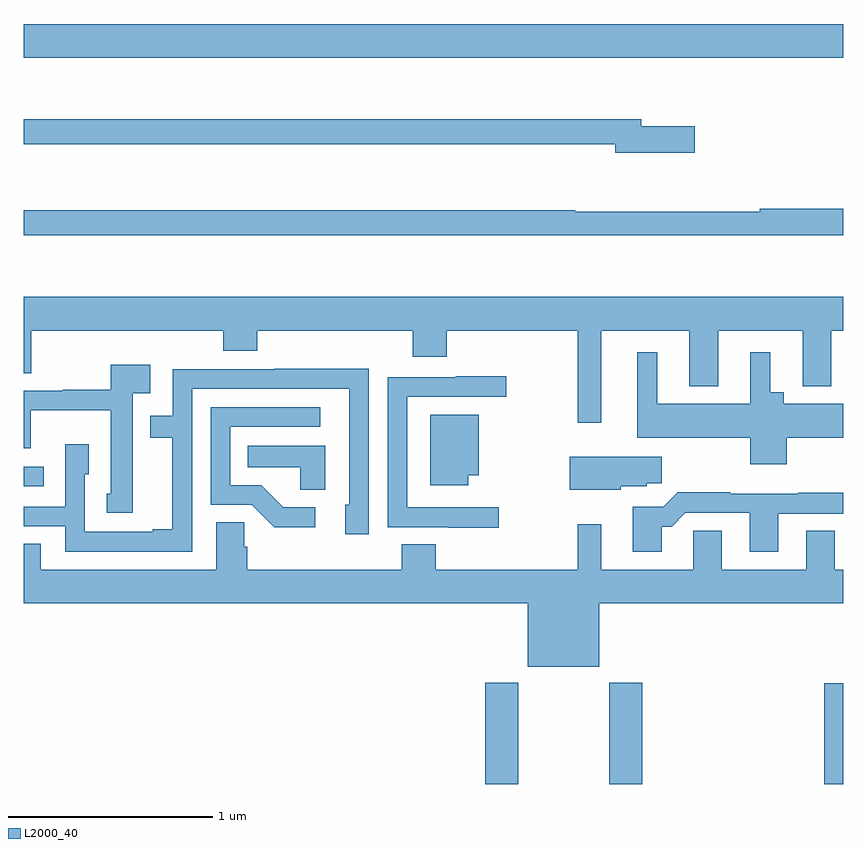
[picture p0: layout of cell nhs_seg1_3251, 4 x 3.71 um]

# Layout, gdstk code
import gdstk
lib = gdstk.Library(unit=1e-6, precision=1e-09)
def R(c, l, rs):  # rectangles x0, y0, x1, y1
    for r in rs: c.add(gdstk.rectangle(r[:2], r[2:], *l))
def P(c, l, *ps):  # polygons
    for p in ps: c.add(gdstk.Polygon(p, *l))
L2000_40 = (2000, 40)

nhs_seg1_3251 = lib.new_cell('nhs_seg1_3251')
R(nhs_seg1_3251, L2000_40, [(289.253,536.199,289.413,536.692), (289.858,536.199,290.018,536.692), (290.906,536.199,291,536.691), (287,537.651,287.098,537.747), (287,539.744,291,539.908)])
P(nhs_seg1_3251, L2000_40, [(290.275,539.409),(290.014,539.409),(290.014,539.443),(287,539.443),(287,539.322),(289.886,539.322),(289.886,539.279),(290.275,539.279)],
  [(291,539.006),(290.591,539.006),(290.591,538.991),(289.691,538.991),(289.691,538.999),(287,538.999),(287,538.878),(291,538.878)],
  [(289.819,538.412),(290.249,538.412),(290.249,538.139),(290.389,538.139),(290.389,538.412),(290.801,538.412),(290.801,538.139),(290.941,538.139),(290.941,538.412),(291,538.412),(291,538.576),(287,538.576),(287,538.204),(287.037,538.204),(287.037,538.412),(287.975,538.412),(287.975,538.313),(288.14,538.313),(288.14,538.412),(288.899,538.412),(288.899,538.284),(289.064,538.284),(289.064,538.412),(289.705,538.412),(289.705,537.963),(289.819,537.963)],
  [(290.723,537.89),(291,537.89),(291,538.054),(290.71,538.054),(290.71,538.111),(290.644,538.111),(290.644,538.306),(290.546,538.306),(290.546,538.054),(290.092,538.054),(290.092,538.306),(289.994,538.306),(289.994,537.89),(290.545,537.89),(290.545,537.759),(290.723,537.759)],
  [(287.533,538.01),(287.532,538.01),(287.532,538.106),(287.617,538.106),(287.617,538.246),(287.424,538.246),(287.424,538.124),(287.19,538.124),(287.19,538.119),(287,538.119),(287,537.837),(287.035,537.837),(287.035,538.022),(287.426,538.022),(287.426,537.615),(287.405,537.615),(287.405,537.522),(287.533,537.522)],
  [(287.823,538.128),(288.588,538.128),(288.588,537.561),(288.569,537.561),(288.569,537.417),(288.684,537.417),(288.684,538.226),(288.223,538.226),(288.223,538.224),(287.727,538.224),(287.727,537.996),(287.618,537.996),(287.618,537.888),(287.726,537.888),(287.726,537.442),(287.63,537.442),(287.63,537.429),(287.298,537.429),(287.298,537.711),(287.317,537.711),(287.317,537.856),(287.202,537.856),(287.202,537.552),(287,537.552),(287,537.456),(287.202,537.456),(287.202,537.333),(287.823,537.333)],
  [(289.318,537.549),(288.873,537.549),(288.873,538.089),(289.354,538.089),(289.354,538.189),(289.109,538.189),(289.109,538.185),(288.777,538.185),(288.777,537.453),(289.073,537.453),(289.073,537.449),(289.318,537.449)],
  [(288.424,537.549),(288.267,537.549),(288.159,537.657),(288.009,537.657),(288.009,537.942),(288.448,537.942),(288.448,538.038),(287.913,538.038),(287.913,537.561),(288.114,537.561),(288.224,537.452),(288.424,537.452)],
  [(289.169,537.707),(289.222,537.707),(289.222,538),(288.983,538),(288.983,537.656),(289.169,537.656)],
  [(288.472,537.85),(288.094,537.85),(288.094,537.746),(288.35,537.746),(288.35,537.634),(288.472,537.634)],
  [(289.914,537.653),(290.04,537.653),(290.04,537.667),(290.113,537.667),(290.113,537.796),(289.664,537.796),(289.664,537.635),(289.914,537.635)],
  [(290.113,537.455),(290.162,537.455),(290.229,537.522),(290.543,537.522),(290.543,537.333),(290.683,537.333),(290.683,537.519),(291,537.519),(291,537.62),(290.779,537.62),(290.779,537.616),(290.447,537.616),(290.447,537.623),(290.192,537.623),(290.121,537.552),(289.973,537.552),(289.973,537.333),(290.113,537.333)],
  [(289.81,537.08),(291,537.08),(291,537.244),(290.959,537.244),(290.959,537.434),(290.819,537.434),(290.819,537.244),(290.407,537.244),(290.407,537.434),(290.268,537.434),(290.268,537.244),(289.819,537.244),(289.819,537.466),(289.705,537.466),(289.705,537.244),(289.01,537.244),(289.01,537.368),(288.845,537.368),(288.845,537.244),(288.092,537.244),(288.092,537.356),(288.077,537.356),(288.077,537.476),(287.939,537.476),(287.939,537.244),(287.083,537.244),(287.083,537.371),(287,537.371),(287,537.08),(289.46,537.08),(289.46,536.771),(289.81,536.771)])

lib.write_gds('nhs_seg1_3251.gds')
